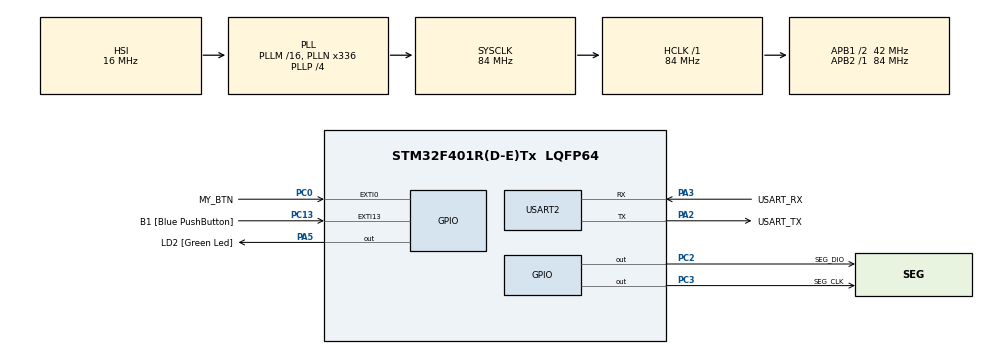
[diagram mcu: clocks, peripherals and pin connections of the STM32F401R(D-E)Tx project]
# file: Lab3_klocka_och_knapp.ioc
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Mcu.Family=STM32F4
Mcu.Name=STM32F401R(D-E)Tx
Mcu.Package=LQFP64
NVIC.EXTI0_IRQn=true\:0\:0\:false\:false\:true\:true\:true\:true
NVIC.PriorityGroup=NVIC_PRIORITYGROUP_0
NVIC.TIM2_IRQn=true\:0\:0\:false\:false\:true\:true\:true\:true
PA13.GPIO_Label=TMS
PA13.Mode=Serial_Wire
PA13.Signal=SYS_JTMS-SWDIO
PA14.GPIO_Label=TCK
PA14.Mode=Serial_Wire
PA14.Signal=SYS_JTCK-SWCLK
PA2.GPIO_Label=USART_TX
PA2.GPIO_Mode=GPIO_MODE_AF_PP
PA2.GPIO_PuPd=GPIO_NOPULL
PA2.GPIO_Speed=GPIO_SPEED_FREQ_LOW
PA2.Mode=Asynchronous
PA2.Signal=USART2_TX
PA3.GPIO_Label=USART_RX
PA3.GPIO_Mode=GPIO_MODE_AF_PP
PA3.GPIO_PuPd=GPIO_NOPULL
PA3.GPIO_Speed=GPIO_SPEED_FREQ_LOW
PA3.Mode=Asynchronous
PA3.Signal=USART2_RX
PA5.GPIO_Label=LD2 [Green Led]
PA5.GPIO_Mode=GPIO_MODE_OUTPUT_PP
PA5.GPIO_PuPd=GPIO_NOPULL
PA5.GPIO_Speed=GPIO_SPEED_FREQ_LOW
PA5.Signal=GPIO_Output
PB3.GPIO_Label=SWO
PB3.Signal=SYS_JTDO-SWO
PC0.GPIO_Label=MY_BTN
PC0.GPIO_ModeDefaultEXTI=GPIO_MODE_IT_FALLING
PC0.Signal=GPXTI0
PC13-ANTI_TAMP.GPIO_Label=B1 [Blue PushButton]
PC13-ANTI_TAMP.GPIO_ModeDefaultEXTI=GPIO_MODE_IT_FALLING
PC13-ANTI_TAMP.GPIO_PuPd=GPIO_NOPULL
PC13-ANTI_TAMP.Signal=GPXTI13
PC14-OSC32_IN.Mode=LSE-External-Oscillator
PC14-OSC32_IN.Signal=RCC_OSC32_IN
PC15-OSC32_OUT.Mode=LSE-External-Oscillator
PC15-OSC32_OUT.Signal=RCC_OSC32_OUT
PC2.GPIO_Label=SEG_DIO
PC2.GPIO_ModeDefaultOutputPP=GPIO_MODE_OUTPUT_OD
PC2.GPIO_PuPd=GPIO_NOPULL
PC2.Signal=GPIO_Output
PC3.GPIO_Label=SEG_CLK
PC3.Signal=GPIO_Output
PH0\ -\ OSC_IN.Mode=HSE-External-Clock-Source
PH0\ -\ OSC_IN.Signal=RCC_OSC_IN
PH1\ -\ OSC_OUT.Mode=HSE-External-Clock-Source
PH1\ -\ OSC_OUT.Signal=RCC_OSC_OUT
ProjectManager.HeapSize=0x200
ProjectManager.StackSize=0x400
ProjectManager.TargetToolchain=STM32CubeIDE
RCC.48MHZClocksFreq_Value=48000000
RCC.AHBFreq_Value=84000000
RCC.APB1CLKDivider=RCC_HCLK_DIV2
RCC.APB1Freq_Value=42000000
RCC.APB1TimFreq_Value=84000000
RCC.APB2Freq_Value=84000000
RCC.APB2TimFreq_Value=84000000
RCC.CortexFreq_Value=84000000
RCC.HCLKFreq_Value=84000000
RCC.HSE_VALUE=8000000
RCC.HSI_VALUE=16000000
RCC.PLLN=336
RCC.PLLP=RCC_PLLP_DIV4
RCC.PLLQ=7
RCC.SYSCLKFreq_VALUE=84000000
RCC.SYSCLKSource=RCC_SYSCLKSOURCE_PLLCLK
RCC.VCOOutputFreq_Value=336000000
TIM2.AutoReloadPreload=TIM_AUTORELOAD_PRELOAD_DISABLE
TIM2.Period=7000-1
TIM2.Prescaler=6000-1
USART2.VirtualMode=VM_ASYNC
VP_TIM2_VS_ClockSourceINT.Mode=Internal
board=NUCLEO-F401RE

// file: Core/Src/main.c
/* USER CODE BEGIN Header */
/**
  ******************************************************************************
  * @file           : main.c
  * @brief          : Main program body
  ******************************************************************************
  * @attention
  *
  * Copyright (c) 2024 STMicroelectronics.
  * All rights reserved.
  *
  * This software is licensed under terms that can be found in the LICENSE file
  * in the root directory of this software component.
  * If no LICENSE file comes with this software, it is provided AS-IS.
  *
  ******************************************************************************
  */
/* USER CODE END Header */
#include "main.h"

TIM_HandleTypeDef htim2;

UART_HandleTypeDef huart2;

void SystemClock_Config(void);
static void MX_GPIO_Init(void);
static void MX_USART2_UART_Init(void);
static void MX_TIM2_Init(void);

/* USER CODE BEGIN 0 */
uint16_t button_exti_count;
uint16_t button_debounced_count;
uint16_t button_bounce_count;
int debounce_time_start = 0;
int BOUNCE_DELAY_NS = 15;
int unhandled_exti = 0;
int button_held = 0;
uint32_t last_flank_causing_exti = 0;

void button_mode(){

	int my_btn_pressed;

	while(1){

		if(unhandled_exti)
		{
			//make debounce_time_start = current time

			//check if debounce time has passed
			if ((HAL_GetTick() - last_flank_causing_exti) >= BOUNCE_DELAY_NS){

				// Read the button state again after the delay
				my_btn_pressed = GPIO_PIN_RESET == HAL_GPIO_ReadPin(MY_BTN_GPIO_Port, MY_BTN_Pin);

				if (my_btn_pressed)
				{
					//if button still pressed after debounce, count as valid press
					button_debounced_count++;
				}
	            unhandled_exti = 0;
			}
		}

	    if (HAL_GPIO_ReadPin(B1_GPIO_Port, B1_Pin) == GPIO_PIN_RESET) {
	        // Display the debounced count when b1 is pressed
	        qs_put_big_num(button_exti_count);
	    }
		else
	    {
	    	qs_put_big_num(button_debounced_count);
	    }

	}

}

void HAL_GPIO_EXTI_Callback(uint16_t GPIO_PIN){
	if (GPIO_PIN == MY_BTN_Pin){
		button_exti_count++;
		unhandled_exti = 1;
		last_flank_causing_exti = HAL_GetTick();

	}
}

void uart_print_menu(){
	char *menu = "Menu: 1. Clock mode. 2. Button mode.";
	HAL_UART_Transmit(&huart2, (uint8_t*)menu, strlen(menu), HAL_MAX_DELAY);
}

int uart_get_menu_choice()
{
	char str[1] = {'\0'};
	uint16_t str_len = 1;
	HAL_UART_Receive(&huart2,(uint8_t *) str, str_len, HAL_MAX_DELAY);
	int ret = -1;
	sscanf(str, "%d", &ret);
	return ret;
}

void uart_print_choice(int choice)
{
    char message[50];

    switch (choice)
    {
        case 1:
            snprintf(message, sizeof(message), "You picked 1.\n");
            break;
        case 2:
            snprintf(message, sizeof(message), "You picked 2.\n");
            break;
        default:
            snprintf(message, sizeof(message), "Error: Invalid choice, pick 1 or 2.\n");
            break;
    }

    HAL_UART_Transmit(&huart2, (uint8_t*)message, strlen(message), HAL_MAX_DELAY);
}
uint8_t colon_on = 0;
uint8_t half_second = 0;
uint8_t hours = 23;
uint8_t minutes = 59;
uint8_t seconds = 0;

void clock_mode()
{
    // Start the timer once
    HAL_TIM_Base_Start_IT(&htim2);

    while (1) {
        /*** main loop ***/
        uint8_t d0, d1, d2, d3;
        uint8_t colon = colon_on;

        if (HAL_GPIO_ReadPin(B1_GPIO_Port, B1_Pin) == GPIO_PIN_RESET) {
            // Show HH:MM
            d0 = hours / 10;
            d1 = hours % 10;
            d2 = minutes / 10;
            d3 = minutes % 10;
        } else {
            // Show MM:SS
            d0 = minutes / 10;
            d1 = minutes % 10;
            d2 = seconds / 10;
            d3 = seconds % 10;
        }

        qs_put_digits(d0, d1, d2, d3, colon);
    }
}

void HAL_TIM_PeriodElapsedCallback( TIM_HandleTypeDef *htim )
{
	uint16_t	display_value;

	if (htim -> Instance == TIM2)
	{
		half_second ^= 1;

		if (half_second) {
			colon_on = 1;
		}
		else {
			colon_on = 0;
			seconds++;
		if (seconds >= 60)
		{
			seconds = 0;
			minutes++;
		}

		if (minutes >= 60)
		{
			minutes = 0;
			hours++;
		}

		if (hours >= 24)
		{
			hours = 0;
		}

		}

	}

}

/* USER CODE END 0 */

int main(void)
{

  /* MCU Configuration--------------------------------------------------------*/

  /* Reset of all peripherals, Initializes the Flash interface and the Systick. */
  HAL_Init();

  /* Configure the system clock */
  SystemClock_Config();

  /* Initialize all configured peripherals */
  MX_GPIO_Init();
  MX_USART2_UART_Init();
  MX_TIM2_Init();

  /* Infinite loop */
  /* USER CODE BEGIN WHILE */
  while (1)
  {
	  //button_mode();
	  uart_print_menu();

	  int menu_choice = -1;
      while (menu_choice != 1 && menu_choice != 2)
      {
          menu_choice = uart_get_menu_choice();
          uart_print_choice(menu_choice);
      }

	  switch (menu_choice)
	  {
	  case 1:		clock_mode(); 				break;
	  case 2: 		button_mode(); 				break;
	  }

    /* USER CODE END WHILE */

  }
}

void SystemClock_Config(void)
{
  RCC_OscInitTypeDef RCC_OscInitStruct = {0};
  RCC_ClkInitTypeDef RCC_ClkInitStruct = {0};

  /** Configure the main internal regulator output voltage
  */
  __HAL_RCC_PWR_CLK_ENABLE();
  __HAL_PWR_VOLTAGESCALING_CONFIG(PWR_REGULATOR_VOLTAGE_SCALE2);

  /** Initializes the RCC Oscillators according to the specified parameters
  * in the RCC_OscInitTypeDef structure.
  */
  RCC_OscInitStruct.OscillatorType = RCC_OSCILLATORTYPE_HSI;
  RCC_OscInitStruct.HSIState = RCC_HSI_ON;
  RCC_OscInitStruct.HSICalibrationValue = RCC_HSICALIBRATION_DEFAULT;
  RCC_OscInitStruct.PLL.PLLState = RCC_PLL_ON;
  RCC_OscInitStruct.PLL.PLLSource = RCC_PLLSOURCE_HSI;
  RCC_OscInitStruct.PLL.PLLM = 16;
  RCC_OscInitStruct.PLL.PLLN = 336;
  RCC_OscInitStruct.PLL.PLLP = RCC_PLLP_DIV4;
  RCC_OscInitStruct.PLL.PLLQ = 7;
  if (HAL_RCC_OscConfig(&RCC_OscInitStruct) != HAL_OK)
  {
    Error_Handler();
  }

  /** Initializes the CPU, AHB and APB buses clocks
  */
  RCC_ClkInitStruct.ClockType = RCC_CLOCKTYPE_HCLK|RCC_CLOCKTYPE_SYSCLK
                              |RCC_CLOCKTYPE_PCLK1|RCC_CLOCKTYPE_PCLK2;
  RCC_ClkInitStruct.SYSCLKSource = RCC_SYSCLKSOURCE_PLLCLK;
  RCC_ClkInitStruct.AHBCLKDivider = RCC_SYSCLK_DIV1;
  RCC_ClkInitStruct.APB1CLKDivider = RCC_HCLK_DIV2;
  RCC_ClkInitStruct.APB2CLKDivider = RCC_HCLK_DIV1;

  if (HAL_RCC_ClockConfig(&RCC_ClkInitStruct, FLASH_LATENCY_2) != HAL_OK)
  {
    Error_Handler();
  }
}

static void MX_TIM2_Init(void)
{

  TIM_ClockConfigTypeDef sClockSourceConfig = {0};
  TIM_MasterConfigTypeDef sMasterConfig = {0};

  htim2.Instance = TIM2;
  htim2.Init.Prescaler = 6000-1;
  htim2.Init.CounterMode = TIM_COUNTERMODE_UP;
  htim2.Init.Period = 7000-1;
  htim2.Init.ClockDivision = TIM_CLOCKDIVISION_DIV1;
  htim2.Init.AutoReloadPreload = TIM_AUTORELOAD_PRELOAD_DISABLE;
  if (HAL_TIM_Base_Init(&htim2) != HAL_OK)
  {
    Error_Handler();
  }
  sClockSourceConfig.ClockSource = TIM_CLOCKSOURCE_INTERNAL;
  if (HAL_TIM_ConfigClockSource(&htim2, &sClockSourceConfig) != HAL_OK)
  {
    Error_Handler();
  }
  sMasterConfig.MasterOutputTrigger = TIM_TRGO_RESET;
  sMasterConfig.MasterSlaveMode = TIM_MASTERSLAVEMODE_DISABLE;
  if (HAL_TIMEx_MasterConfigSynchronization(&htim2, &sMasterConfig) != HAL_OK)
  {
    Error_Handler();
  }

}

static void MX_USART2_UART_Init(void)
{

  huart2.Instance = USART2;
  huart2.Init.BaudRate = 115200;
  huart2.Init.WordLength = UART_WORDLENGTH_8B;
  huart2.Init.StopBits = UART_STOPBITS_1;
  huart2.Init.Parity = UART_PARITY_NONE;
  huart2.Init.Mode = UART_MODE_TX_RX;
  huart2.Init.HwFlowCtl = UART_HWCONTROL_NONE;
  huart2.Init.OverSampling = UART_OVERSAMPLING_16;
  if (HAL_UART_Init(&huart2) != HAL_OK)
  {
    Error_Handler();
  }

}

static void MX_GPIO_Init(void)
{
  GPIO_InitTypeDef GPIO_InitStruct = {0};

  /* GPIO Ports Clock Enable */
  __HAL_RCC_GPIOC_CLK_ENABLE();
  __HAL_RCC_GPIOH_CLK_ENABLE();
  __HAL_RCC_GPIOA_CLK_ENABLE();
  __HAL_RCC_GPIOB_CLK_ENABLE();

  /*Configure GPIO pin Output Level */
  HAL_GPIO_WritePin(GPIOC, SEG_DIO_Pin|SEG_CLK_Pin, GPIO_PIN_RESET);

  /*Configure GPIO pin Output Level */
  HAL_GPIO_WritePin(LD2_GPIO_Port, LD2_Pin, GPIO_PIN_RESET);

  /*Configure GPIO pins : B1_Pin MY_BTN_Pin */
  GPIO_InitStruct.Pin = B1_Pin|MY_BTN_Pin;
  GPIO_InitStruct.Mode = GPIO_MODE_IT_FALLING;
  GPIO_InitStruct.Pull = GPIO_NOPULL;
  HAL_GPIO_Init(GPIOC, &GPIO_InitStruct);

  /*Configure GPIO pin : SEG_DIO_Pin */
  GPIO_InitStruct.Pin = SEG_DIO_Pin;
  GPIO_InitStruct.Mode = GPIO_MODE_OUTPUT_OD;
  GPIO_InitStruct.Pull = GPIO_NOPULL;
  GPIO_InitStruct.Speed = GPIO_SPEED_FREQ_LOW;
  HAL_GPIO_Init(SEG_DIO_GPIO_Port, &GPIO_InitStruct);

  /*Configure GPIO pin : SEG_CLK_Pin */
  GPIO_InitStruct.Pin = SEG_CLK_Pin;
  GPIO_InitStruct.Mode = GPIO_MODE_OUTPUT_PP;
  GPIO_InitStruct.Pull = GPIO_NOPULL;
  GPIO_InitStruct.Speed = GPIO_SPEED_FREQ_LOW;
  HAL_GPIO_Init(SEG_CLK_GPIO_Port, &GPIO_InitStruct);

  /*Configure GPIO pin : LD2_Pin */
  GPIO_InitStruct.Pin = LD2_Pin;
  GPIO_InitStruct.Mode = GPIO_MODE_OUTPUT_PP;
  GPIO_InitStruct.Pull = GPIO_NOPULL;
  GPIO_InitStruct.Speed = GPIO_SPEED_FREQ_LOW;
  HAL_GPIO_Init(LD2_GPIO_Port, &GPIO_InitStruct);

  /* EXTI interrupt init*/
  HAL_NVIC_SetPriority(EXTI0_IRQn, 0, 0);
  HAL_NVIC_EnableIRQ(EXTI0_IRQn);

}

void Error_Handler(void)
{
  __disable_irq();
  while (1)
  {
  }
}
